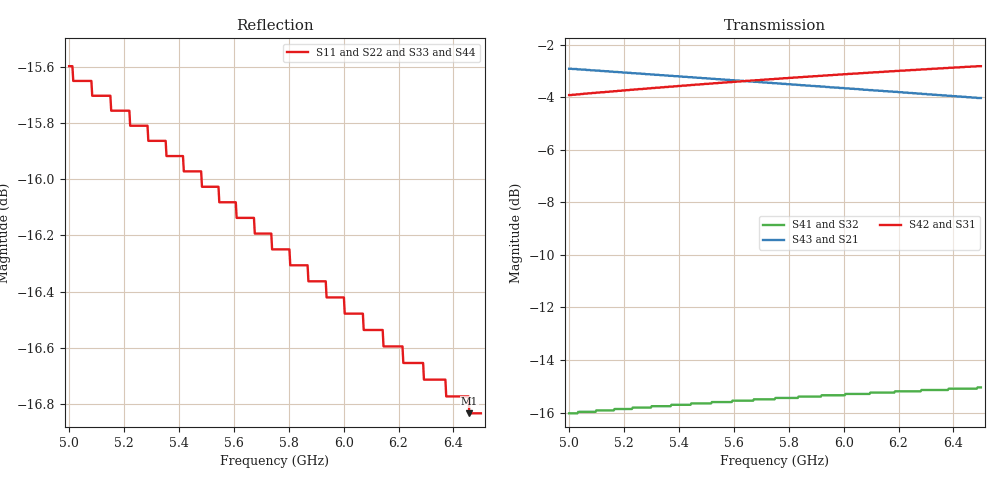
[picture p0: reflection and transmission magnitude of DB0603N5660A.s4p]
!	AVX THIN FILM OPERATION
!	0603 SIZE 3dB 90deg COUPLER P/N DB0603N5660ANTR
!	Created August 2010
!	Network Analyzer HP8720E S.07.64: Feb23, 2000 Serial No.US39172382
# MHZ S MA R 50
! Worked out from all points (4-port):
!   500 points, 5 GHz to 6.5 GHz, reference 50 ohm
!   strongest paths, dB at 5 GHz, 5.376 GHz, 5.752 GHz, 6.127 GHz, 6.5 GHz:
!     S42: -3.9, -3.6, -3.3, -3.0, -2.8
!     S31: -3.9, -3.6, -3.3, -3.0, -2.8
!     S43: -2.9, -3.2, -3.5, -3.8, -4.0
!     S21: -2.9, -3.2, -3.5, -3.8, -4.0
!     S41: -16.0, -15.7, -15.4, -15.2, -15.0
!     S32: -16.0, -15.7, -15.4, -15.2, -15.0
!   lowest |S11| = -16.8 dB at 6.458 GHz (marker M1), VSWR 1.34, Z = 39.5 - j7.61 ohm
!   |S11| at or under -10 dB: start of sweep to end of sweep
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5000  0.166 -144.8  0.715 -50.8  0.637 38.4  0.158 -43.4
      0.715 -50.8  0.166 -144.8  0.158 -43.4  0.637 38.4
      0.637 38.4  0.158 -43.4  0.166 -144.8  0.715 -50.8
      0.158 -43.4  0.637 38.4  0.715 -50.8  0.166 -144.8
5435.872  0.159 -144.6  0.689 -54.1  0.665 35.5  0.164 -51.1
          0.689 -54.1  0.159 -144.6  0.164 -51.1  0.665 35.5
          0.665 35.5  0.164 -51.1  0.159 -144.6  0.689 -54.1
          0.164 -51.1  0.665 35.5  0.689 -54.1  0.159 -144.6
5450.902  0.159 -144.5  0.688 -54.2  0.666 35.5  0.165 -51.4
          0.688 -54.2  0.159 -144.5  0.165 -51.4  0.666 35.5
          0.666 35.5  0.165 -51.4  0.159 -144.5  0.688 -54.2
          0.165 -51.4  0.666 35.5  0.688 -54.2  0.159 -144.5
5742.485  0.154 -143.6  0.671 -56.4  0.683 33.6  0.168 -56.3
          0.671 -56.4  0.154 -143.6  0.168 -56.3  0.683 33.6
          0.683 33.6  0.168 -56.3  0.154 -143.6  0.671 -56.4
          0.168 -56.3  0.683 33.6  0.671 -56.4  0.154 -143.6
5757.515  0.154 -143.6  0.671 -56.5  0.684 33.5  0.169 -56.6
          0.671 -56.5  0.154 -143.6  0.169 -56.6  0.684 33.5
          0.684 33.5  0.169 -56.6  0.154 -143.6  0.671 -56.5
          0.169 -56.6  0.684 33.5  0.671 -56.5  0.154 -143.6
6457.916  0.144 -139.1  0.631 -61.5  0.721 29.4  0.176 -67.6
          0.631 -61.5  0.144 -139.1  0.176 -67.6  0.721 29.4
          0.721 29.4  0.176 -67.6  0.144 -139.1  0.631 -61.5
          0.176 -67.6  0.721 29.4  0.631 -61.5  0.144 -139.1
6500  0.144 -138.8  0.629 -61.8  0.723 29.2  0.177 -68.2
      0.629 -61.8  0.144 -138.8  0.177 -68.2  0.723 29.2
      0.723 29.2  0.177 -68.2  0.144 -138.8  0.629 -61.8
      0.177 -68.2  0.723 29.2  0.629 -61.8  0.144 -138.8
